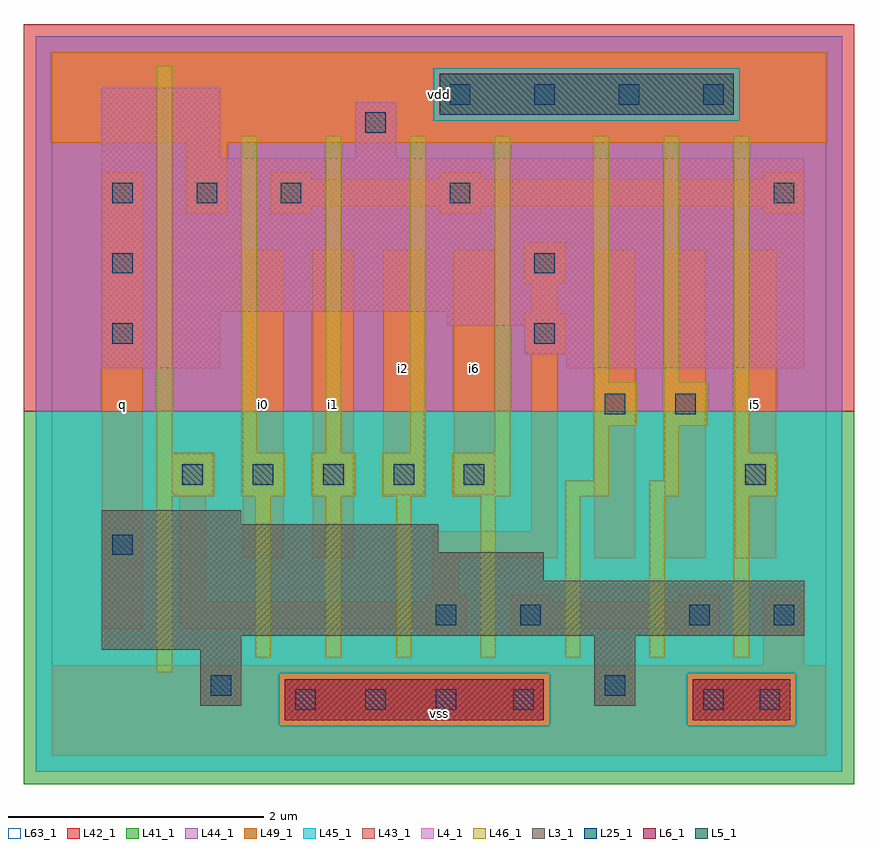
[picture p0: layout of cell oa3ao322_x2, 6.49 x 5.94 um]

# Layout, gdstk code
import gdstk
lib = gdstk.Library(unit=1e-6, precision=1e-09)
def R(c, l, rs):  # rectangles x0, y0, x1, y1
    for r in rs: c.add(gdstk.rectangle(r[:2], r[2:], *l))
def A(c, l, x, y, w, h, nx, ny, dx, dy):  # array of equal rectangles
    R(c, l, [(x+i*dx, y+j*dy, x+i*dx+w, y+j*dy+h) for i in range(nx) for j in range(ny)])
L3_1 = (3, 1)
L4_1 = (4, 1)
L5_1 = (5, 1)
L6_1 = (6, 1)
L25_1 = (25, 1)
L41_1 = (41, 1)
L42_1 = (42, 1)
L43_1 = (43, 1)
L44_1 = (44, 1)
L45_1 = (45, 1)
L46_1 = (46, 1)
L49_1 = (49, 1)
L63_1 = (63, 1)

oa3ao322_x2 = lib.new_cell('oa3ao322_x2')
R(oa3ao322_x2, L3_1, [(1.16,0.39,1.48,0.83), (4.24,0.39,4.56,0.94), (0.39,0.83,1.48,0.94), (0.39,0.94,5.88,1.37), (0.39,1.37,3.845,1.59), (0.39,1.59,3.02,1.81), (0.39,1.81,1.48,1.92)])
R(oa3ao322_x2, L4_1, [(0.39,3.03,1.315,3.47), (4.02,3.03,5.88,3.14), (3.69,3.14,5.88,3.36), (3.085,3.36,5.88,3.47), (0.39,3.47,5.88,4.67), (0.39,4.67,1.315,5.22), (2.37,4.67,2.69,5.11)])
R(oa3ao322_x2, L5_1, [(3.03,5.01,5.33,5.33)])
R(oa3ao322_x2, L6_1, [(1.82,0.28,3.845,0.6), (5.01,0.28,5.77,0.6)])
A(oa3ao322_x2, L25_1, 1.9, 0.36, 0.16, 0.16, 3, 1, 0.55, 0)
A(oa3ao322_x2, L25_1, 1.02, 2.12, 0.16, 0.16, 5, 1, 0.55, 0)
A(oa3ao322_x2, L25_1, 0.47, 4.32, 0.16, 0.16, 3, 1, 0.66, 0)
A(oa3ao322_x2, L25_1, 3.11, 5.09, 0.16, 0.16, 4, 1, 0.66, 0)
R(oa3ao322_x2, L25_1, [(3.605,0.36,3.765,0.52), (5.09,0.36,5.25,0.52), (5.53,0.36,5.69,0.52), (1.24,0.47,1.4,0.63), (4.32,0.47,4.48,0.63), (3,1.02,3.16,1.18), (3.66,1.02,3.82,1.18), (4.98,1.02,5.14,1.18), (5.64,1.02,5.8,1.18), (0.47,1.57,0.63,1.73), (5.42,2.12,5.58,2.28), (4.32,2.67,4.48,2.83), (4.87,2.67,5.03,2.83), (0.47,3.22,0.63,3.38), (3.77,3.22,3.93,3.38), (0.47,3.77,0.63,3.93), (3.77,3.77,3.93,3.93), (3.11,4.32,3.27,4.48), (5.64,4.32,5.8,4.48), (2.45,4.87,2.61,5.03)])
R(oa3ao322_x2, L41_1, [(-0.22,-0.22,6.27,2.695)])
R(oa3ao322_x2, L42_1, [(-0.22,2.695,6.27,5.72)])
R(oa3ao322_x2, L43_1, [(1.82,0.28,3.845,0.6), (5.01,0.28,5.77,0.6), (1.16,0.39,1.48,0.83), (4.24,0.39,4.56,0.94), (0.39,0.83,1.48,0.94), (0.39,0.94,5.88,1.37), (0.39,1.37,3.845,1.59), (0.39,1.59,3.02,1.81), (0.39,1.81,1.48,1.92), (0.39,3.03,1.315,3.47), (4.02,3.03,5.88,3.14), (3.69,3.14,5.88,3.36), (3.085,3.36,5.88,3.47), (0.39,3.47,5.88,4.67), (0.39,4.67,1.315,5.22), (2.37,4.67,2.69,5.11), (3.03,5.01,5.33,5.33)])
R(oa3ao322_x2, L44_1, [(1.775,0.235,3.89,0.645), (4.965,0.235,5.815,0.645), (-0.125,2.695,6.175,4.965), (-0.125,4.965,2.985,5.375), (5.375,4.965,6.175,5.375), (-0.125,5.375,6.175,5.625)])
R(oa3ao322_x2, L45_1, [(-0.125,-0.125,6.175,0.235), (-0.125,0.235,1.775,0.645), (3.89,0.235,4.965,0.645), (5.815,0.235,6.175,0.645), (-0.125,0.645,6.175,2.695), (2.985,4.965,5.375,5.375)])
A(oa3ao322_x2, L46_1, 1.59, 0.765, 0.12, 1.265, 3, 1, 0.55, 0)
A(oa3ao322_x2, L46_1, 3.35, 0.765, 0.12, 1.265, 4, 1, 0.66, 0)
A(oa3ao322_x2, L46_1, 1.48, 2.03, 0.34, 0.34, 3, 1, 0.55, 0)
A(oa3ao322_x2, L46_1, 1.48, 2.37, 0.12, 2.475, 4, 1, 0.66, 0)
R(oa3ao322_x2, L46_1, [(0.82,0.655,0.94,2.03), (0.82,2.03,1.27,2.37), (3.13,2.03,3.58,2.37), (4.01,2.03,4.35,2.15), (4.67,2.03,4.9,2.15), (5.33,2.03,5.67,2.37), (4.23,2.15,4.35,2.58), (4.78,2.15,4.9,2.58), (0.82,2.37,0.94,5.395), (5.33,2.37,5.45,4.845), (4.23,2.58,4.57,2.92), (4.78,2.58,5.12,2.92), (4.23,2.92,4.35,4.845), (4.78,2.92,4.9,4.845)])
A(oa3ao322_x2, L49_1, 4.24, 1.545, 0.32, 2.41, 3, 1, 0.55, 0)
R(oa3ao322_x2, L49_1, [(0,0,6.05,0.71), (5.56,0.71,5.88,1.26), (2.92,0.94,3.24,0.995), (3.58,0.94,3.9,0.995), (4.9,0.94,5.22,0.995), (0.39,0.995,0.71,4.56), (0.995,0.995,3.24,1.205), (3.58,0.995,5.22,1.205), (0.995,1.205,1.205,2.04), (2.92,1.205,3.24,1.26), (3.58,1.205,3.9,1.26), (4.9,1.205,5.22,1.26), (2.975,1.26,3.185,1.545), (1.49,1.545,1.81,3.955), (2.04,1.545,2.36,3.955), (2.975,1.545,3.955,1.755), (3.745,1.755,3.955,3.14), (0.94,2.04,1.26,2.36), (2.59,2.04,2.91,3.955), (3.14,2.04,3.46,3.955), (3.69,3.14,4.01,3.46), (3.745,3.46,3.955,3.69), (3.69,3.69,4.01,4.01), (1.05,4.24,1.37,4.79), (1.71,4.24,2.03,4.295), (3.03,4.24,3.35,4.295), (5.56,4.24,5.88,4.295), (1.71,4.295,5.88,4.505), (1.71,4.505,2.03,4.56), (3.03,4.505,3.35,4.56), (5.56,4.505,5.88,4.56), (0,4.79,6.05,5.5)])
R(oa3ao322_x2, L63_1, [(0,0,6.05,5.5)])
oa3ao322_x2.add(gdstk.Label('q', (0.55,2.75), layer=49, texttype=1))
oa3ao322_x2.add(gdstk.Label('q', (0.55,2.75), layer=49, texttype=1))
oa3ao322_x2.add(gdstk.Label('i1', (2.2,2.75), layer=49, texttype=1))
oa3ao322_x2.add(gdstk.Label('i0', (1.65,2.75), layer=49, texttype=1))
oa3ao322_x2.add(gdstk.Label('i1', (2.2,2.75), layer=49, texttype=1))
oa3ao322_x2.add(gdstk.Label('i0', (1.65,2.75), layer=49, texttype=1))
oa3ao322_x2.add(gdstk.Label('vss', (3.025,0.33), layer=49, texttype=1))
oa3ao322_x2.add(gdstk.Label('vss', (3.025,0.33), layer=49, texttype=1))
oa3ao322_x2.add(gdstk.Label('i2', (2.75,3.025), layer=49, texttype=1))
oa3ao322_x2.add(gdstk.Label('i6', (3.3,3.025), layer=49, texttype=1))
oa3ao322_x2.add(gdstk.Label('i6', (3.3,3.025), layer=49, texttype=1))
oa3ao322_x2.add(gdstk.Label('i2', (2.75,3.025), layer=49, texttype=1))
oa3ao322_x2.add(gdstk.Label('vdd', (3.025,5.17), layer=49, texttype=1))
oa3ao322_x2.add(gdstk.Label('vdd', (3.025,5.17), layer=49, texttype=1))
oa3ao322_x2.add(gdstk.Label('i5', (5.5,2.75), layer=49, texttype=1))
oa3ao322_x2.add(gdstk.Label('i5', (5.5,2.75), layer=49, texttype=1))

lib.write_gds('oa3ao322_x2.gds')
